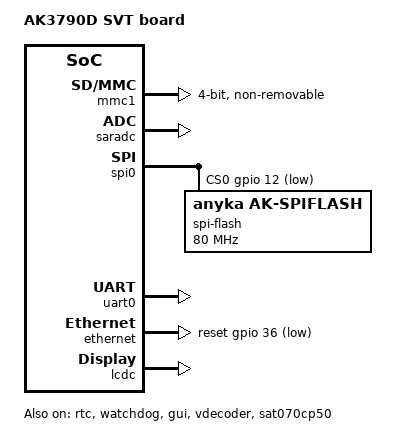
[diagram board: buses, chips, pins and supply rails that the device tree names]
/*
 * AK37D svt board dts
 *
 * Copyright (C) 2018 Anyka(Guangzhou) Microelectronics Technology Co., Ltd.
 *
 * Author: Feilong Dong <dong_feilong@anyka.com>
 *
 * This program is free software; you can redistribute it and/or modify
 * it under the terms of the GNU General Public License as published by
 * the Free Software Foundation; either version 2 of the License, or
 * (at your option) any later version.
 *
 * This program is distributed in the hope that it will be useful,
 * but WITHOUT ANY WARRANTY; without even the implied warranty of
 * MERCHANTABILITY or FITNESS FOR A PARTICULAR PURPOSE.  See the
 * GNU General Public License for more details.
 */

/dts-v1/;
#include "anycloud_ak37d1.dtsi"
#include "anycloud_ak37d_lcd.dtsi"

/ {
    compatible = "anyka,ak37d";
    model = "AK3790D SVT board";
	version = "V1.0.01";
};

  
  
  
  &gpio {
    /* anyka,function sharepin func index according to table 2-1 sharepin-list */
    /* index: 0: PIN default func, 1: FUNCTION1, 2: FUNCTION2, 3: FUNCTION3, 4: FUNCTION4 */
    /* anyka,pull config value bit[31:24]--slew rate, bit[23:16]--ie, bit[15:8]--drive, bit[7:0]--pupd config */
    /* bit[31:24]--slew rate, 0: slow, 1: fast */
    /* bit[23:16]--ie, input enable, 0: disable, 1: enable */
    /* bit[15:8]--drive, drive strength, 4levels value: 0x0-0x3 */
    /* bit[7:0]--pupd config, bit[7:4] 1:enable/ 0:disable, bit[3:0] 0:select PU /1:select PD */

    mci0_pins: mci0_pins {
        anyka,pins = <33 34 35 36 37 38 39 40 41 42>;
        anyka,function = <1>;
        anyka,pull = <0x10010 0x10010 0x10010 0x10010 0x10010 0x10010 0x10010 0x10010 0x10010 0x10010>;/* 4 line */ 
    };

    mci1_pins: mci1_pins {
		anyka,pins = <43 44 45 46 47 48>;
        anyka,function = <1>;
        anyka,pull = <0x10010 0x10000 0x10010 0x10010 0x10010 0x10010>;// 4 line
        /*
		// 1 line 
        anyka,pins = <43 44 45>;
        anyka,function = <1>;
        anyka,pull = <0x10010 0x10000 0x10010>;
		*/

    };
    
    mci2_pins: mci2_pins {
        anyka,pins = <91 92 93 94 95 96>;
        anyka,function = <2 2 3 3 3 3>;
        anyka,pull = <0x01010010 0x01010010 0x01010010 0x01010010 0x01010010 0x01010010>; /* 4 line */

        /* 1 line */
        /*anyka,pins = <93 94 95>;*/
        /*anyka,function = <3>;*/
        /*anyka,pull = <0x01010010 0x01010010 0x01010010>;*/ 
    };
   
    spiflash_pins: spiflash_pins {
        anyka,pins = <12 18 67 68 69 70>; /* 4 LINE mode, 12 is spi nor cs, 18 is spinand cs*/
        anyka,function = <1 0 0 0 0 0>;
        anyka,pull = <0x01010010>;
    };
    
    lcd_pins: lcd_pins {
        anyka,pins = <74 71 72 73
        	          75 76 77 78
        	          79 80 81 82
        	          83 84 85 86
        	          87 88 89 90
        	          91 92 93 94
        	          95 96 97 98>;
        anyka,function = <1>;
        anyka,pull = <0x01010310>;
    };

    speak_pins: speak_pins {
        anyka,pins = <44>; 
        anyka,function = <0>;
        anyka,pull = <1>;
    };

    uart0_pins: uart0_pins {
        anyka,pins = <1 2>;
        anyka,function = <1>;
        anyka,pull = <0x01010010>;
    };

	phy_reset_pins: phy_reset_pins {		
		anyka,pins = <36>;		
	    anyka,function = <0>;
        anyka,pull = <0x01000010>;
    };

    ethernet_pins_rmii: ethernet_pins_rmii {
		anyka,pins 		= <10 11 13 14 15 19 20 23 24 49>;
        anyka,function 	= <1>;
        anyka,pull = <0x01010011 0x01010010 0x01010011 0x01010011 0x01010011 0x01010011 0x01010011 0x01010011 0x01010011 0x01010210>;
    };
};

&rtc {
	   /* 
	   ** rtc osc_source_select, 0 means INTERNAL RC OSC, 1 means EXTERNAL XTAL 
	   */
		osc-select = <0>;
    status = "okay";
};

&watchdog {
    def_heartbeat = <10>;
    status = "okay";
};

&gui {
    status = "okay";
};

&vdecoder {
    status = "okay";
};

&mmc0 {
    bus-width = <0x8>;
    max-frequency = <50000000>;
    /*
     *  detect mode:
     *  (1) non-removable;
     *  (2) detect-gpio/detect-gpios: card detect using gpio
     *      detect-gpio = <&gpio 77 1>;  
     *      or 
     *      detect-gpios = <&gpio 77 1>;  
     *  (3) cd_clk: card detect using MCLK
     *  default is non-removable
     */
    cd_clk;
    /* if support highspeed, using cap-sd-highspeed */
    cap-sd-highspeed;
    pinctrl-names = "default";
    pinctrl-0 = <&mci0_pins>;
    status = "disable";
};

&mmc1 {
    bus-width = <0x4>;
    max-frequency = <50000000>;
    /*
     *  detect mode:
     *  (1) non-removable;
     *  (2) detect-gpio/detect-gpios: card detect using gpio
     *      detect-gpio = <&gpio 77 1>;  
     *      or 
     *      detect-gpios = <&gpio 77 1>;  
     *  (3) cd_clk: card detect using MCLK
     *  default is non-removable
     */
    non-removable;
    /* if support highspeed, using cap-sd-highspeed */
    cap-sd-highspeed;
    pinctrl-names = "default";
    pinctrl-0 = <&mci1_pins>;
    status = "okay";
};

&mmc2 {
    bus-width = <0x1>;
    max-frequency = <50000000>;
    /*
     *  detect mode:
     *  (1) non-removable;
     *  (2) detect-gpio/detect-gpios: card detect using gpio
     *      detect-gpio = <&gpio 77 1>;  
     *      or 
     *      detect-gpios = <&gpio 77 1>;  
     *  (3) cd_clk: card detect using MCLK
     *  default is non-removable
     */
    non-removable;
    /* if support sdio, using cap-sdio-irq*/
    cap-sdio-irq;
    /* if support highspeed, using cap-sd-highspeed */
    cap-sd-highspeed;
    pinctrl-names = "default";
    pinctrl-0 = <&mci2_pins>;
    status = "disable";
};

&adc_dac {
    status = "disable";

    dev0 {
        snd-dev = <SND_CARD_DAC_PLAYBACK>;
        snd-type = <AK_PCM_DEV_PLAYBACK>;
        snd-idx = <0>;
    };

    dev1 {
        snd-dev = <SND_CARD_ADC_CAPTURE>;
        snd-type = <AK_PCM_DEV_CAPTURE>;
        snd-idx = <0>;
    };

    dev2 {
        snd-dev = <SND_CARD_DAC_LOOPBACK>;
        snd-type = <AK_PCM_DEV_LOOPBACK>;
        snd-idx = <0>;
    };
};

&saradc{
     status = "okay";
};
&spi0 {
    pinctrl-names = "default";
    pinctrl-0 = <&spiflash_pins>;
    cs-gpios = <&gpio 12 1>, <&gpio 18 1>;
    spi-bus-frequency = <80000000>;
    status = "okay";
    
    spi-flash@0 {
	    compatible = "anyka,ak-spiflash";
		reg = <0>; /* Chip select 0 */
		spi-max-frequency = <80000000>;
		status = "okay";
	};

	spi-flash@1 {
	    compatible = "anyka,ak-spinand";
	    reg = <1>; /* Chip select 1 */
	    spi-max-frequency = <80000000>;
	    status = "disable";
	};
};

&uart0 {
    pinctrl-names = "default";
	pinctrl-0 = <&uart0_pins>;
    status = "okay";
};

&i2c0 {
    pinctrl-names = "default";
    //pinctrl-0 = <&i2c0_pins>;
    status = "disable";
    
    sensor {
        compatible = "anyka,sensor";
        status = "disable";
    };
};

&ethernet {
    pinctrl-names = "default";
    pinctrl-0 = <&ethernet_pins_rmii &phy_reset_pins>;
    reset-gpios = <&gpio 36 1>;
    status = "okay";
};

&leds {
	pinctrl-names = "default";
	//pinctrl-0 = <&led_pins>;
	led-gpios = <&gpio 29 1
                 &gpio 30 1>;
	status = "okay";
};

&adkeys {
	status = "disable";
};

&motor0 {
	status = "disable";
};

&motor1 {
	status = "disable";
};

&pwm0 {
	pinctrl-names = "default";
	/* frequency of PWM ranges from 92H to 6MHz.*/
	pwm-frequency = <2000000>;
	//pinctrl-0 = <&pwm0_pins>;
	status = "disable";
};

&pwm1 {
	pinctrl-names = "default";
	/* frequency of PWM ranges from 92H to 6MHz.*/
	pwm-frequency = <2000000>;
	//pinctrl-0 = <&pwm1_pins>;
	status = "disable";
};

&pwm2 {
	pinctrl-names = "default";
	/* frequency of PWM ranges from 92H to 6MHz.*/
	pwm-frequency = <2000000>;
	//pinctrl-0 = <&pwm2_pins>;
	status = "disable";
};

&pwm3 {
	pinctrl-names = "default";
	/* frequency of PWM ranges from 92H to 6MHz.*/
	pwm-frequency = <2000000>;
	//pinctrl-0 = <&pwm2_pins>;
	status = "disable";
};

&lcdc {
    pinctrl-names = "default";
    pinctrl-0 = <&lcd_pins>; //<&lcd_pins>,<&lcd_reset_pins>; //lcd_reset_pins only for mipi lcd
    
    lcd-logo-width = <600>;
    lcd-logo-height = <165>;
    //[fmt1:fmt0] 00 16bits input(RGB565 or BGR565)
    //[fmt1:fmt0] 01 24bits input(RGB888 or BGR888)
    //[fmt1:fmt0] 10 or 11 32bits input(ARGB888 ABGR888 RGBA888 BGRA888)
    lcd-logo-fmt0 = <1>;
    lcd-logo-fmt1 = <0>;
    lcd-logo-rgb-seq = <1>; //0 for BGR, 1 for RGB
    
    lcd-fb-type = <1>; //0:single buffer; 1:double buffer
    status = "okay";
};

&sat070cp50 {
    status = "okay";
};
